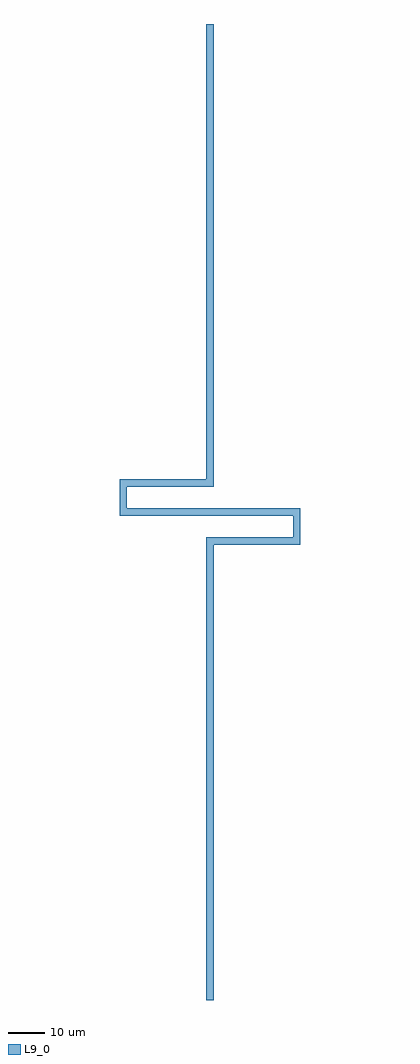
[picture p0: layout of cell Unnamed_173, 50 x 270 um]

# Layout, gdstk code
import gdstk
lib = gdstk.Library(unit=1e-6, precision=1e-09)
def R(c, l, rs):  # rectangles x0, y0, x1, y1
    for r in rs: c.add(gdstk.rectangle(r[:2], r[2:], *l))
L9_0 = (9, 0)

rectangle_s50_2_l9_0_cf_ = lib.new_cell('rectangle_S50_2_L9_0_CF_7b202ac9')
R(rectangle_s50_2_l9_0_cf_, L9_0, [(0,0,50,2)])

rectangle_s2_6_l9_0_cfa_ = lib.new_cell('rectangle_S2_6_L9_0_CFa_6e69fcce')
R(rectangle_s2_6_l9_0_cfa_, L9_0, [(0,0,2,6)])

rectangle_s26_2_l9_0_cf_ = lib.new_cell('rectangle_S26_2_L9_0_CF_7241b5a4')
R(rectangle_s26_2_l9_0_cf_, L9_0, [(0,0,26,2)])

rectangle_s2_126_l9_0_c_ = lib.new_cell('rectangle_S2_126_L9_0_C_b187a1dd')
R(rectangle_s2_126_l9_0_c_, L9_0, [(0,0,2,126)])

unnamed_173 = lib.new_cell('Unnamed_173')
unnamed_173.add(gdstk.Reference(rectangle_s50_2_l9_0_cf_, (-24,134)))
unnamed_173.add(gdstk.Reference(rectangle_s2_6_l9_0_cfa_, (24,128)))
unnamed_173.add(gdstk.Reference(rectangle_s2_6_l9_0_cfa_, (-24,136)))
unnamed_173.add(gdstk.Reference(rectangle_s26_2_l9_0_cf_, (0,126)))
unnamed_173.add(gdstk.Reference(rectangle_s26_2_l9_0_cf_, (-24,142)))
unnamed_173.add(gdstk.Reference(rectangle_s2_126_l9_0_c_, (0,0)))
unnamed_173.add(gdstk.Reference(rectangle_s2_126_l9_0_c_, (0,144)))

lib.write_gds('Unnamed_173.gds')
